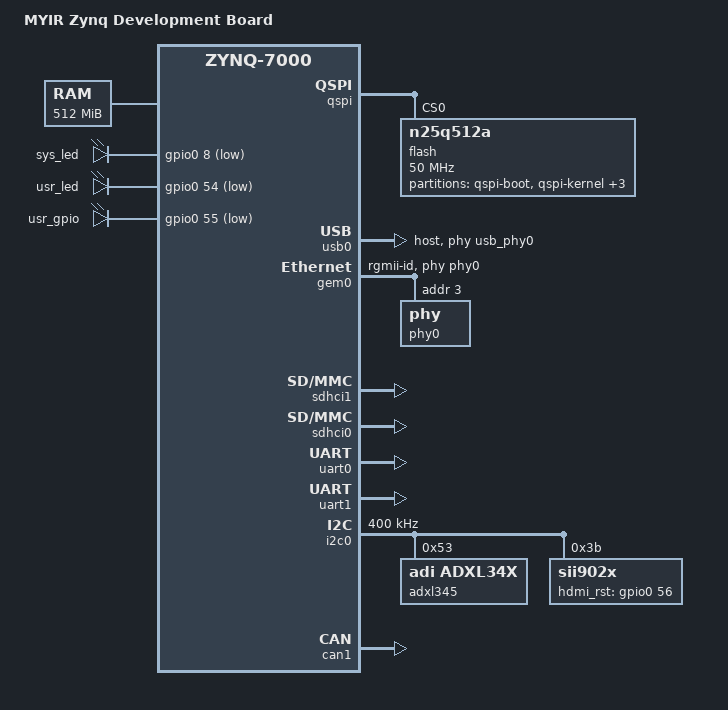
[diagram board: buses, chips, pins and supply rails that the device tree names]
/*
 *  Copyright (C) 2011 - 2014 Xilinx
 *  Copyright (C) 2012 National Instruments Corp.
 *
 * This software is licensed under the terms of the GNU General Public
 * License version 2, as published by the Free Software Foundation, and
 * may be copied, distributed, and modified under those terms.
 *
 * This program is distributed in the hope that it will be useful,
 * but WITHOUT ANY WARRANTY; without even the implied warranty of
 * MERCHANTABILITY or FITNESS FOR A PARTICULAR PURPOSE.  See the
 * GNU General Public License for more details.
 */
/dts-v1/;
/include/ "zynq-7000.dtsi"
/include/ "pl_hdmi.dtsi"

/ {
	model = "MYIR Zynq Development Board";
	compatible = "myir,zynq-myd", "xlnx,zynq-7000";

	aliases {
		ethernet0 = &gem0;
		serial0 = &uart1;
		serial1 = &uart0;
		spi0 = &qspi;
	};

	memory {
		device_type = "memory";
		reg = <0x0 0x20000000>; // Reserved 256MB for xylonfb driver
	};

	chosen {
		bootargs = "console=ttyPS0,115200 root=/dev/ram rw earlyprintk";
		linux,stdout-path = "/amba/serial@e0001000";
	};

	leds {
		compatible = "gpio-leds";

		sys_led {
			label = "sys_led";
			gpios = <&gpio0 8 1>;
			default-state = "off";
			linux,default-trigger = "none";
		};

		usr_led {
			label = "usr_led";
			gpios = <&gpio0 54 1>;
			default-state = "off";
			linux,default-trigger = "none";
		};

		gpio {
			label = "usr_gpio";
			gpios = <&gpio0 55 1>;
			default-state = "off";
			linux,default-trigger = "none";
		};
	};

        usb_phy0: phy0@e0002000 {
                compatible = "ulpi-phy";
                #phy-cells = <0>;
                reg = <0xe0002000 0x1000>;
                view-port = <0x0170>;
                drv-vbus;
        };

};

&gpio0 {
    	emio-gpio-width = <64>;
    	gpio-mask-high = <0x0>;
    	gpio-mask-low = <0x5600>;
    	xlnx,emio-gpio-width = <0x40>;
    	xlnx,mio-gpio-mask = <0x5600>;
};

&qspi {
	status = "okay";
	is-dual = <0>;
	num-cs = <1>;
	xlnx,fb-clk = <0x1>;
	xlnx,qspi-mode = <0x0>;
	flash@0 {
		//compatible = "n25q128";
		compatible = "n25q512a","micron,m25p80";
		reg = <0x0>;
		spi-tx-bus-width = <1>;
		spi-rx-bus-width = <4>;
		spi-max-frequency = <50000000>;
		#address-cells = <1>;
		#size-cells = <1>;
		partition@qspi-boot {
			label = "qspi-boot";
			reg = <0x0 0x500000>;
		};
		partition@qspi-kernel {
			label = "qspi-kernel";
			reg = <0x500000 0x480000>;
		};
		partition@qspi-devicetree {
			label = "qspi-devicetree";
			reg = <0x980000 0x010000>;
		};
		partition@qspi-rootfs {
			label = "qspi-rootfs";
			reg = <0x990000 0x600000>;
		};
		partition@qspi-data {
			label = "data";
			reg = <0xF90000 0x070000>;
		};
	};
};

&usb0 {
	status = "okay";
        dr_mode = "host";
        usb-phy = <&usb_phy0>;
};

&gem0 {
    status = "okay";
    phy-mode = "rgmii-id";
    phy-handle = <&phy0>;
    phy0: phy@0 {
        device_type = "ethernet-phy";
        reg = <3>;
    };
};

&sdhci1 {
	status = "okay";
   	xlnx,has-cd = <0x1>;
    	xlnx,has-power = <0x0>;
    	xlnx,has-wp = <0x0>;
};

&sdhci0 {
	status = "okay";
    	xlnx,has-cd = <0x1>;
    	xlnx,has-power = <0x0>;
    	xlnx,has-wp = <0x1>;
};

&uart0 {
	status = "okay";
    	port-number = <1>;
	device_type = "serial";
};

&uart1 {
	status = "okay";
    	port-number = <0>;
	device_type = "serial";
};

&i2c0 {
	status = "okay";
//  bus-id = <0x0>;
    clock-frequency = <400000>;
    xlnx,has-interrupt = <0x1>;
	
    adxl345@53 {
        compatible = "adi,adxl34x","adxl34x";
        reg = <0x53>;
        interrupt-parent = <&intc>;
        interrupts = < 0 31 4 >;
    };

    sii902x@3b {
        compatible = "sii902x";
        reg = <0x3b>;
        interrupt-parent = <&intc>;
        interrupts = < 0 29 4 >;
		mode_str = "1920x1080";
		bits-per-pixel = <16>;
	display-color-space = <0>; //0:RGB, 1:YUV
	hdmi_rst = <&gpio0 56 0>;
    };

	/*
	stlm75@49 {
		status = "okay";
		compatible = "myir-stlm75x";
		reg = <0x49>;
		interrupts = < 0 32 4 >;
	};*/
};

&can1 {
	status = "okay";
};


